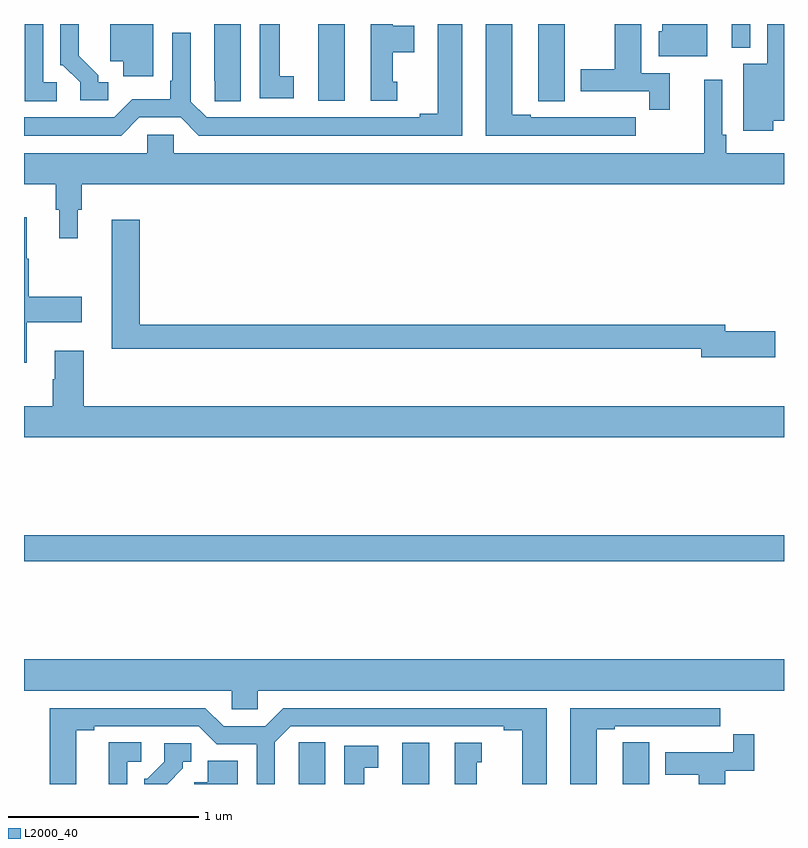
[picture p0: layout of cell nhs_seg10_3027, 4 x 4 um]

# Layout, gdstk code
import gdstk
lib = gdstk.Library(unit=1e-6, precision=1e-09)
def R(c, l, rs):  # rectangles x0, y0, x1, y1
    for r in rs: c.add(gdstk.rectangle(r[:2], r[2:], *l))
def P(c, l, *ps):  # polygons
    for p in ps: c.add(gdstk.Polygon(p, *l))
L2000_40 = (2000, 40)

nhs_seg10_3027 = lib.new_cell('nhs_seg10_3027')
R(nhs_seg10_3027, L2000_40, [(276.992,1290.5,277.132,1290.718), (275,1291.672,279,1291.808), (276.548,1294.095,276.688,1294.5), (278.726,1294.376,278.823,1294.5)])
P(nhs_seg10_3027, L2000_40, [(275.607,1294.008),(275.825,1294.008),(275.921,1293.912),(277.306,1293.912),(277.306,1294.5),(277.178,1294.5),(277.178,1294.028),(277.082,1294.028),(277.082,1294.008),(275.961,1294.008),(275.877,1294.092),(275.877,1294.453),(275.781,1294.453),(275.781,1294.201),(275.769,1294.201),(275.769,1294.104),(275.571,1294.104),(275.475,1294.008),(275,1294.008),(275,1293.912),(275.511,1293.912)],
  [(276.421,1294.226),(276.346,1294.226),(276.346,1294.5),(276.242,1294.5),(276.242,1294.11),(276.421,1294.11)],
  [(275.443,1294.194),(275.392,1294.194),(275.392,1294.229),(275.287,1294.334),(275.287,1294.5),(275.19,1294.5),(275.19,1294.284),(275.205,1294.284),(275.295,1294.194),(275.295,1294.098),(275.443,1294.098)],
  [(277.846,1294.5),(277.706,1294.5),(277.706,1294.201),(277.707,1294.201),(277.707,1294.093),(277.846,1294.093)],
  [(275.173,1294.194),(275.1,1294.194),(275.1,1294.5),(275.003,1294.5),(275.003,1294.093),(275.173,1294.093)],
  [(276.142,1294.5),(276.002,1294.5),(276.002,1294.201),(276.003,1294.201),(276.003,1294.093),(276.142,1294.093)],
  [(275.68,1294.5),(275.453,1294.5),(275.453,1294.304),(275.522,1294.304),(275.522,1294.224),(275.68,1294.224)],
  [(278.944,1293.992),(279,1293.992),(279,1294.5),(278.913,1294.5),(278.913,1294.291),(278.786,1294.291),(278.786,1293.939),(278.944,1293.939)],
  [(278.221,1294.008),(278.108,1294.008),(278.108,1294.009),(277.942,1294.009),(277.942,1294.008),(277.666,1294.008),(277.666,1294.023),(277.57,1294.023),(277.57,1294.5),(277.43,1294.5),(277.43,1293.912),(278.221,1293.912)],
  [(278.399,1294.242),(278.248,1294.242),(278.248,1294.5),(278.108,1294.5),(278.108,1294.263),(277.931,1294.263),(277.931,1294.146),(278.29,1294.146),(278.29,1294.05),(278.399,1294.05)],
  [(278.596,1294.5),(278.36,1294.5),(278.36,1294.461),(278.342,1294.461),(278.342,1294.331),(278.596,1294.331)],
  [(276.964,1294.197),(276.94,1294.197),(276.94,1294.352),(277.054,1294.352),(277.054,1294.492),(276.94,1294.492),(276.94,1294.5),(276.824,1294.5),(276.824,1294.095),(276.964,1294.095)],
  [(275.284,1293.522),(275.303,1293.522),(275.303,1293.656),(279,1293.656),(279,1293.82),(278.696,1293.82),(278.696,1293.916),(278.676,1293.916),(278.676,1294.207),(278.579,1294.207),(278.579,1293.82),(275.787,1293.82),(275.787,1293.918),(275.649,1293.918),(275.649,1293.82),(275,1293.82),(275,1293.656),(275.167,1293.656),(275.167,1293.522),(275.186,1293.522),(275.186,1293.372),(275.284,1293.372)],
  [(275.014,1292.93),(275.305,1292.93),(275.305,1293.065),(275.026,1293.065),(275.026,1293.264),(275.014,1293.264),(275.014,1293.484),(275,1293.484),(275,1292.718),(275.014,1292.718)],
  [(278.953,1292.882),(278.692,1292.882),(278.692,1292.918),(275.609,1292.918),(275.609,1293.469),(275.462,1293.469),(275.462,1292.79),(278.564,1292.79),(278.564,1292.747),(278.953,1292.747)],
  [(279,1292.488),(275.315,1292.488),(275.315,1292.779),(275.162,1292.779),(275.162,1292.63),(275.15,1292.63),(275.15,1292.488),(275,1292.488),(275,1292.324),(279,1292.324)],
  [(276.231,1290.992),(279,1290.992),(279,1291.156),(275,1291.156),(275,1290.992),(276.093,1290.992),(276.093,1290.894),(276.231,1290.894)],
  [(275.275,1290.784),(275.371,1290.784),(275.371,1290.804),(275.919,1290.804),(276.015,1290.708),(276.225,1290.708),(276.225,1290.5),(276.321,1290.5),(276.321,1290.72),(276.405,1290.804),(277.526,1290.804),(277.526,1290.784),(277.622,1290.784),(277.622,1290.5),(277.75,1290.5),(277.75,1290.9),(276.365,1290.9),(276.269,1290.804),(276.051,1290.804),(275.955,1290.9),(275.135,1290.9),(275.135,1290.5),(275.275,1290.5)],
  [(278.014,1290.789),(278.11,1290.789),(278.11,1290.804),(278.386,1290.804),(278.386,1290.803),(278.552,1290.803),(278.552,1290.804),(278.665,1290.804),(278.665,1290.9),(277.874,1290.9),(277.874,1290.5),(278.014,1290.5)],
  [(278.692,1290.57),(278.843,1290.57),(278.843,1290.763),(278.734,1290.763),(278.734,1290.666),(278.375,1290.666),(278.375,1290.55),(278.552,1290.55),(278.552,1290.5),(278.692,1290.5)],
  [(276.586,1290.719),(276.447,1290.719),(276.447,1290.611),(276.446,1290.611),(276.446,1290.5),(276.586,1290.5)],
  [(275.544,1290.618),(275.617,1290.618),(275.617,1290.719),(275.447,1290.719),(275.447,1290.5),(275.544,1290.5)],
  [(278.29,1290.719),(278.151,1290.719),(278.151,1290.611),(278.15,1290.611),(278.15,1290.5),(278.29,1290.5)],
  [(277.384,1290.615),(277.408,1290.615),(277.408,1290.718),(277.268,1290.718),(277.268,1290.5),(277.384,1290.5)],
  [(275.836,1290.583),(275.836,1290.618),(275.881,1290.618),(275.881,1290.714),(275.739,1290.714),(275.739,1290.618),(275.649,1290.528),(275.634,1290.528),(275.634,1290.5),(275.753,1290.5)],
  [(276.79,1290.586),(276.865,1290.586),(276.865,1290.702),(276.686,1290.702),(276.686,1290.5),(276.79,1290.5)],
  [(276.124,1290.623),(275.966,1290.623),(275.966,1290.508),(275.897,1290.508),(275.897,1290.5),(276.124,1290.5)])

lib.write_gds('nhs_seg10_3027.gds')
